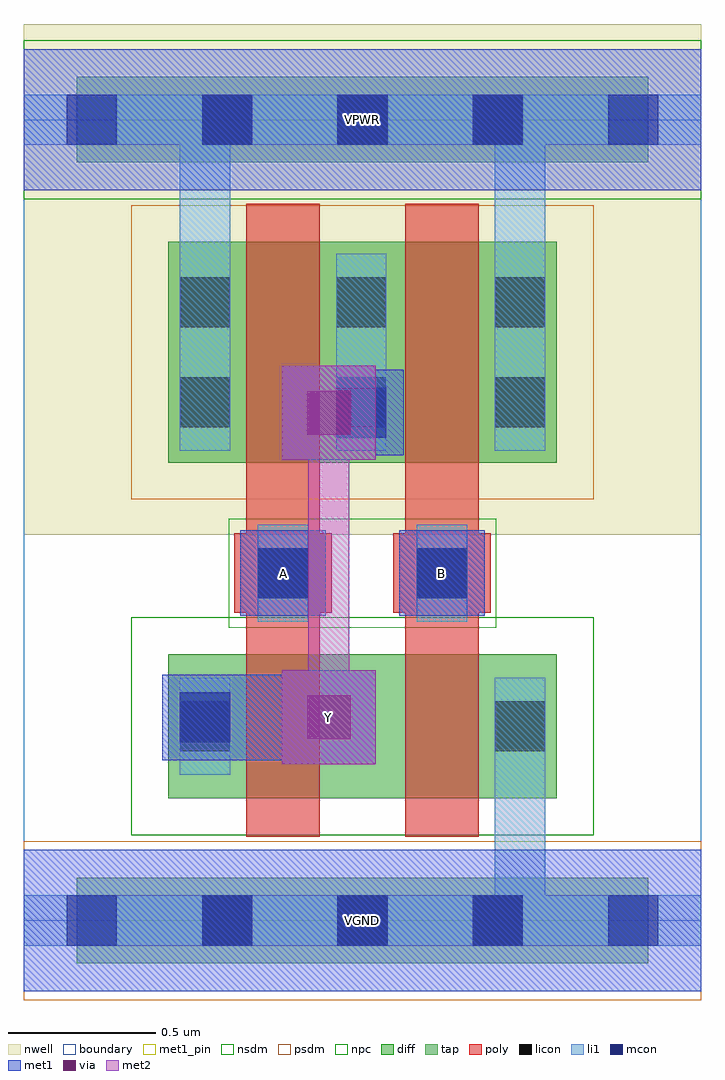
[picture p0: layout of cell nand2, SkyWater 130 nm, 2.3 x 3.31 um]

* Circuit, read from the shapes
.subckt nand2 A B VGND VPWR Y
XM1 n1 A Y VGND sky130_fd_pr__nfet_01v8 w=0.49 l=0.25
XM2 VGND B n1 VGND sky130_fd_pr__nfet_01v8 w=0.49 l=0.25
XM3 Y A VPWR VPWR sky130_fd_pr__pfet_01v8 w=0.75 l=0.25
XM4 VPWR B Y VPWR sky130_fd_pr__pfet_01v8 w=0.75 l=0.25
.ends

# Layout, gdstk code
import gdstk
lib = gdstk.Library(unit=1e-6, precision=1e-09)
def R(c, l, rs):  # rectangles x0, y0, x1, y1
    for r in rs: c.add(gdstk.rectangle(r[:2], r[2:], *l))
def A(c, l, x, y, w, h, nx, ny, dx, dy):  # array of equal rectangles
    R(c, l, [(x+i*dx, y+j*dy, x+i*dx+w, y+j*dy+h) for i in range(nx) for j in range(ny)])
nwell = (64, 20)
diff = (65, 20)
tap = (65, 44)
poly = (66, 20)
licon = (66, 44)
li1 = (67, 20)
mcon = (67, 44)
met1_pin = (68, 16)
met1 = (68, 20)
via = (68, 44)
met2 = (69, 20)
nsdm = (93, 44)
psdm = (94, 20)
npc = (95, 20)
boundary = (235, 4)

nand2 = lib.new_cell('nand2')
R(nand2, nwell, [(0,1.31,2.3,3.045)])
R(nand2, diff, [(0.49,0.415,1.81,0.905), (0.49,1.555,1.81,2.305)])
R(nand2, tap, [(0.18,-0.145,2.12,0.145), (0.18,2.575,2.12,2.865)])
R(nand2, poly, [(0.755,0.285,1.005,2.435), (1.295,0.285,1.545,2.435), (0.715,1.045,1.045,1.315), (1.255,1.045,1.585,1.315)])
A(nand2, licon, 0.605, -0.085, 0.17, 0.17, 3, 2, 0.46, 2.72)
R(nand2, licon, [(0.53,0.575,0.7,0.745), (1.6,0.575,1.77,0.745), (0.795,1.095,0.965,1.265), (1.335,1.095,1.505,1.265), (0.53,1.675,0.7,1.845), (1.06,1.675,1.23,1.845), (1.6,1.675,1.77,1.845), (0.53,2.015,0.7,2.185), (1.06,2.015,1.23,2.185), (1.6,2.015,1.77,2.185)])
R(nand2, li1, [(0,-0.085,2.3,0.085), (1.6,-0.085,1.77,0.825), (0.53,0.495,0.7,0.825), (1.6,0.495,1.77,0.825), (0.795,1.015,0.965,1.345), (1.335,1.015,1.505,1.345), (0.53,1.595,0.7,2.265), (0.53,1.595,0.7,2.805), (1.06,1.595,1.23,2.265), (1.6,1.595,1.77,2.265), (1.6,1.595,1.77,2.805), (0,2.635,2.3,2.805)])
A(nand2, mcon, 0.145, -0.085, 0.17, 0.17, 5, 2, 0.46, 2.72)
R(nand2, mcon, [(0.53,0.605,0.7,0.775), (0.795,1.095,0.965,1.265), (1.335,1.095,1.505,1.265), (1.06,1.64,1.23,1.81)])
R(nand2, met1_pin, [(0,-0.24,2.3,0.24), (0.875,0.53,1.195,0.85), (0.735,1.035,1.025,1.325), (1.275,1.035,1.565,1.325), (0,2.48,2.3,2.96)])
R(nand2, met1, [(0,-0.24,2.3,0.24), (0.875,0.53,1.195,0.85), (0.47,0.545,0.76,0.835), (0.76,0.545,0.875,0.835), (0.545,0.62,0.875,0.76), (0.735,0.62,1.105,0.76), (0.735,1.035,1.025,1.325), (1.275,1.035,1.565,1.325), (0.875,1.565,1.195,1.885), (1,1.58,1.29,1.87), (0.965,1.655,1.215,1.795), (0,2.48,2.3,2.96)])
R(nand2, via, [(0.96,0.615,1.11,0.765), (0.96,1.65,1.11,1.8)])
R(nand2, met2, [(0.875,0.53,1.195,0.85), (0.965,0.62,1.105,1.795), (0.875,1.565,1.195,1.885)])
R(nand2, nsdm, [(0.365,0.29,1.935,1.03), (0,2.45,2.3,2.99)])
R(nand2, psdm, [(0,-0.27,2.3,0.27), (0.365,1.43,1.935,2.43)])
R(nand2, npc, [(0.695,0.995,1.605,1.365)])
R(nand2, boundary, [(0,0,2.3,2.72)])
nand2.add(gdstk.Label('A', (0.88,1.18), layer=68, texttype=5))
nand2.add(gdstk.Label('B', (1.42,1.18), layer=68, texttype=5))
nand2.add(gdstk.Label('Y', (1.035,0.69), layer=68, texttype=5))
nand2.add(gdstk.Label('VPWR', (1.15,2.72), layer=68, texttype=5))
nand2.add(gdstk.Label('VGND', (1.15,0), layer=68, texttype=5))
nand2.add(gdstk.Label('A', (0.88,1.18), layer=68, texttype=16))
nand2.add(gdstk.Label('B', (1.42,1.18), layer=68, texttype=16))
nand2.add(gdstk.Label('Y', (1.035,0.69), layer=68, texttype=16))
nand2.add(gdstk.Label('VPWR', (1.15,2.72), layer=68, texttype=16))
nand2.add(gdstk.Label('VGND', (1.15,0), layer=68, texttype=16))

lib.write_gds('nand2.gds')
